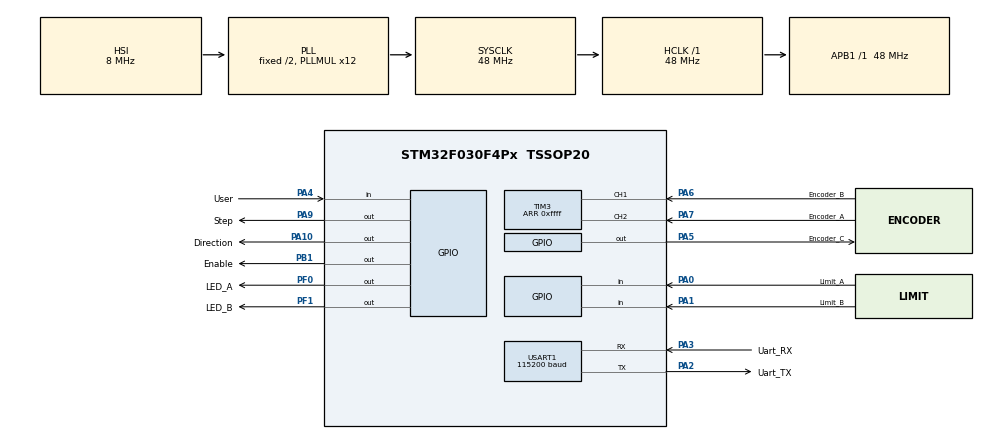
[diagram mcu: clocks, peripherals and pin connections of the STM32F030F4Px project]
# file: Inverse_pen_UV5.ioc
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Mcu.Family=STM32F0
Mcu.Name=STM32F030F4Px
Mcu.Package=TSSOP20
NVIC.TIM14_IRQn=true\:2\:0\:true
NVIC.TIM16_IRQn=true\:1\:0\:true
PA0.GPIO_Label=Limit_A
PA0.GPIO_Mode=GPIO_MODE_INPUT
PA0.GPIO_PuPd=GPIO_PULLDOWN
PA0.Signal=GPIO_Input
PA1.GPIO_Label=Limit_B
PA1.GPIO_Mode=GPIO_MODE_INPUT
PA1.GPIO_PuPd=GPIO_PULLDOWN
PA1.Signal=GPIO_Input
PA10.GPIO_FMA10=__NULL
PA10.GPIO_Label=Direction
PA10.GPIO_ModeDefaultOutputPP=GPIO_MODE_OUTPUT_PP
PA10.GPIO_PuPd=GPIO_NOPULL
PA10.GPIO_Speed=GPIO_SPEED_LOW
PA10.Signal=GPIO_Output
PA13.Mode=Serial-WireDebug
PA13.Signal=SYS_SWDIO
PA14.Mode=Serial-WireDebug
PA14.Signal=SYS_SWCLK
PA2.GPIO_Label=Uart_TX
PA2.GPIO_Mode=GPIO_MODE_AF_PP
PA2.GPIO_PuPd=GPIO_PULLUP
PA2.GPIO_Speed=GPIO_SPEED_HIGH
PA2.Mode=Asynchronous
PA2.Signal=USART1_TX
PA3.GPIO_Label=Uart_RX
PA3.GPIO_Mode=GPIO_MODE_AF_PP
PA3.GPIO_PuPd=GPIO_PULLUP
PA3.GPIO_Speed=GPIO_SPEED_HIGH
PA3.Mode=Asynchronous
PA3.Signal=USART1_RX
PA4.GPIO_Label=User
PA4.Signal=GPIO_Input
PA5.GPIO_Label=Encoder_C
PA5.GPIO_ModeDefaultOutputPP=GPIO_MODE_OUTPUT_PP
PA5.GPIO_PuPd=GPIO_NOPULL
PA5.GPIO_Speed=GPIO_SPEED_LOW
PA5.Signal=GPIO_Output
PA6.GPIO_Label=Encoder_B
PA6.GPIO_ModeDefaultPP=GPIO_MODE_AF_PP
PA6.GPIO_PuPd=GPIO_PULLUP
PA6.GPIO_Speed=GPIO_SPEED_MEDIUM
PA6.Signal=S_TIM3_CH1
PA7.GPIO_Label=Encoder_A
PA7.GPIO_ModeDefaultPP=GPIO_MODE_AF_PP
PA7.GPIO_PuPd=GPIO_PULLUP
PA7.GPIO_Speed=GPIO_SPEED_MEDIUM
PA7.Signal=S_TIM3_CH2
PA9.GPIO_FMA9=__NULL
PA9.GPIO_Label=Step
PA9.GPIO_ModeDefaultOutputPP=GPIO_MODE_OUTPUT_PP
PA9.GPIO_PuPd=GPIO_NOPULL
PA9.GPIO_Speed=GPIO_SPEED_LOW
PA9.Signal=GPIO_Output
PB1.GPIO_Label=Enable
PB1.GPIO_ModeDefaultOutputPP=GPIO_MODE_OUTPUT_PP
PB1.GPIO_PuPd=GPIO_NOPULL
PB1.GPIO_Speed=GPIO_SPEED_LOW
PB1.Signal=GPIO_Output
PF0-OSC_IN.GPIO_Label=LED_A
PF0-OSC_IN.GPIO_ModeDefaultOutputPP=GPIO_MODE_OUTPUT_PP
PF0-OSC_IN.GPIO_PuPd=GPIO_NOPULL
PF0-OSC_IN.GPIO_Speed=GPIO_SPEED_LOW
PF0-OSC_IN.Signal=GPIO_Output
PF1-OSC_OUT.GPIO_Label=LED_B
PF1-OSC_OUT.GPIO_ModeDefaultOutputPP=GPIO_MODE_OUTPUT_PP
PF1-OSC_OUT.GPIO_PuPd=GPIO_NOPULL
PF1-OSC_OUT.GPIO_Speed=GPIO_SPEED_LOW
PF1-OSC_OUT.Signal=GPIO_Output
ProjectManager.TargetToolchain=MDK-ARM V5
RCC.AHBFreq_Value=48000000
RCC.APB1Freq_Value=48000000
RCC.APB1TimFreq_Value=48000000
RCC.HCLKFreq_Value=48000000
RCC.PLLMUL=RCC_PLL_MUL12
RCC.SYSCLKFreq_VALUE=48000000
RCC.SYSCLKSource=RCC_SYSCLKSOURCE_PLLCLK
SH.S_TIM3_CH1.0=TIM3_CH1,Encoder_Interface
SH.S_TIM3_CH2.0=TIM3_CH2,Encoder_Interface
TIM14.Period=4999
TIM14.Prescaler=47
TIM16.Prescaler=23
TIM3.EncoderMode=TIM_ENCODERMODE_TI12
TIM3.Period=0xffff
USART1.BaudRate=115200
VP_TIM14_VS_ClockSourceINT.Mode=Enable_Timer
VP_TIM16_VS_ClockSourceINT.Mode=Enable_Timer
board=Inverse_pen_UV5

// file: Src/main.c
/**
  ******************************************************************************
  * File Name          : main.c
  * Description        : Main program body
  ******************************************************************************
  *
  * COPYRIGHT(c) 2015 STMicroelectronics
  *
  * Redistribution and use in source and binary forms, with or without modification,
  * are permitted provided that the following conditions are met:
  *   1. Redistributions of source code must retain the above copyright notice,
  *      this list of conditions and the following disclaimer.
  *   2. Redistributions in binary form must reproduce the above copyright notice,
  *      this list of conditions and the following disclaimer in the documentation
  *      and/or other materials provided with the distribution.
  *   3. Neither the name of STMicroelectronics nor the names of its contributors
  *      may be used to endorse or promote products derived from this software
  *      without specific prior written permission.
  *
  * THIS SOFTWARE IS PROVIDED BY THE COPYRIGHT HOLDERS AND CONTRIBUTORS "AS IS"
  * AND ANY EXPRESS OR IMPLIED WARRANTIES, INCLUDING, BUT NOT LIMITED TO, THE
  * IMPLIED WARRANTIES OF MERCHANTABILITY AND FITNESS FOR A PARTICULAR PURPOSE ARE
  * DISCLAIMED. IN NO EVENT SHALL THE COPYRIGHT HOLDER OR CONTRIBUTORS BE LIABLE
  * FOR ANY DIRECT, INDIRECT, INCIDENTAL, SPECIAL, EXEMPLARY, OR CONSEQUENTIAL
  * DAMAGES (INCLUDING, BUT NOT LIMITED TO, PROCUREMENT OF SUBSTITUTE GOODS OR
  * SERVICES; LOSS OF USE, DATA, OR PROFITS; OR BUSINESS INTERRUPTION) HOWEVER
  * CAUSED AND ON ANY THEORY OF LIABILITY, WHETHER IN CONTRACT, STRICT LIABILITY,
  * OR TORT (INCLUDING NEGLIGENCE OR OTHERWISE) ARISING IN ANY WAY OUT OF THE USE
  * OF THIS SOFTWARE, EVEN IF ADVISED OF THE POSSIBILITY OF SUCH DAMAGE.
  *
  ******************************************************************************
  */
#include "stm32f0xx_hal.h"

/* USER CODE BEGIN Includes */

#include "math.h"

#define Wn 0.98f 						// natural frequncy

#define M_PI 3.142857142857143f
#define Deg2Rad 0.0174603174603175f

#define sampling 200.0f
#define Revo_Per_Step 0.25f
#define limit_angle 5.0f

#define step_clock  2000000.0f
#define step_Per_mm 50.0f      			// step per mm 6.25, 12.5, 25, 50, 100 (full - 1/16)

#define max_acc  2500.0f     			// mm/s^2
#define max_velo 700.0f   				// mm/s
#define max_displacement 380.0f  		// mm

#define acc_swing_up     1120.0f  		// mm

#define start_cart_position -196.0f * step_Per_mm * 2.0f

#define start_swing_upPoint  0

#define Max_stabili_angle  15.0f
#define inertial_energy_top  94.0f			// limit inertial energy in pendulum

float Kp_outer = 0.01;
float Kd_outer = 0.008; // 0.007
float Ki_outer = 0.0001; //0.01f

//float Kp_iner = 1000.0;
//float Kd_iner = 65.0;

float Kp_iner = 500.0;
float Kd_iner = 65.0;

/* USER CODE END Includes */

TIM_HandleTypeDef htim3;
TIM_HandleTypeDef htim14;
TIM_HandleTypeDef htim16;

UART_HandleTypeDef huart1;

/* USER CODE BEGIN PV */
/* Private variables ---------------------------------------------------------*/

float Debug;

float time = 0;
uint8_t Mode = 0;								// operation mode
uint8_t inte_cart_enable = 0;					// enable or disable intregetion

float positon_ref;

float Angle_pen = 180;

float Angle_pen_dot = 0;
float Angle_pen_shift = 0;
int32_t raw_position_cart = start_cart_position;
float position_cart = 0;
float position_cart_velo = 0;
float position_cart_acc = 0;

float energy = 0;

static float y_data, y_prev_1, y_prev_2;
static float x_prev_1, x_prev_2;

int8_t _limit_state;
/* USER CODE END PV */

void SystemClock_Config(void);
static void MX_GPIO_Init(void);
static void MX_TIM3_Init(void);
static void MX_TIM14_Init(void);
static void MX_TIM16_Init(void);
static void MX_USART1_UART_Init(void);

/* USER CODE BEGIN PFP */
/* Private function prototypes -----------------------------------------------*/
void Initial_encoder(void);
void Update_encoder(void);
float Moving_average(float new_data, float old_data);
float Butterworth_filter(float new_data);

void Sampling_update(void);
void Motor_enable(void);
void Motor_disable(void);
void Motor_lock(void);
void Motor_drive(float tmp_acc, float velo_limit);

void Idle(void);
void Homing(void);
void pre_Swing_up(void);
void Swing_up(void);
void pre_stabilizer(void);
void stabilizer(void);
void pre_swing_up(void);

void _drive_step_pin(void);

void blink_green(void);
void blink_red(void);
void Limit_ws_check(void);
void Limit_ws_unlock(void);
void reset_filter(void);
void Print_Debug(void);

/* USER CODE END PFP */

int main(void)
{

  /* USER CODE BEGIN 1 */

	Mode = 1; 						// homing

//	Mode = 5;
//	inte_cart_enable = 1;
//	raw_position_cart = 0;
//	Angle_pen = 0;

	position_cart = raw_position_cart / (step_Per_mm *2.0f);
  /* USER CODE END 1 */

  /* MCU Configuration----------------------------------------------------------*/

  /* Reset of all peripherals, Initializes the Flash interface and the Systick. */
  HAL_Init();

  /* Configure the system clock */
  SystemClock_Config();

  /* Initialize all configured peripherals */
  MX_GPIO_Init();
  MX_TIM3_Init();
  MX_TIM14_Init();
  MX_TIM16_Init();
  MX_USART1_UART_Init();

  /* USER CODE BEGIN 2 */

	Initial_encoder();
	Motor_disable();
	HAL_Delay(200);

	Motor_enable();
	//Motor_lock();

	HAL_TIM_Base_Start_IT(&htim14);

  /* USER CODE END 2 */

  /* Infinite loop */
  while (1)
  {

  /* USER CODE BEGIN 3 */

		HAL_Delay(0xffff);

  }
  /* USER CODE END 3 */

}

/** System Clock Configuration
*/
void SystemClock_Config(void)
{

  RCC_OscInitTypeDef RCC_OscInitStruct;
  RCC_ClkInitTypeDef RCC_ClkInitStruct;
  RCC_PeriphCLKInitTypeDef PeriphClkInit;

  RCC_OscInitStruct.OscillatorType = RCC_OSCILLATORTYPE_HSI;
  RCC_OscInitStruct.HSIState = RCC_HSI_ON;
  RCC_OscInitStruct.HSICalibrationValue = 16;
  RCC_OscInitStruct.PLL.PLLState = RCC_PLL_ON;
  RCC_OscInitStruct.PLL.PLLSource = RCC_PLLSOURCE_HSI;
  RCC_OscInitStruct.PLL.PLLMUL = RCC_PLL_MUL12;
  RCC_OscInitStruct.PLL.PREDIV = RCC_PREDIV_DIV1;
  HAL_RCC_OscConfig(&RCC_OscInitStruct);

  RCC_ClkInitStruct.ClockType = RCC_CLOCKTYPE_SYSCLK;
  RCC_ClkInitStruct.SYSCLKSource = RCC_SYSCLKSOURCE_PLLCLK;
  RCC_ClkInitStruct.AHBCLKDivider = RCC_SYSCLK_DIV1;
  RCC_ClkInitStruct.APB1CLKDivider = RCC_HCLK_DIV1;
  HAL_RCC_ClockConfig(&RCC_ClkInitStruct, FLASH_LATENCY_1);

  PeriphClkInit.PeriphClockSelection = RCC_PERIPHCLK_USART1;
  PeriphClkInit.Usart1ClockSelection = RCC_USART1CLKSOURCE_PCLK1;
  HAL_RCCEx_PeriphCLKConfig(&PeriphClkInit);

  HAL_SYSTICK_Config(HAL_RCC_GetHCLKFreq()/1000);

  HAL_SYSTICK_CLKSourceConfig(SYSTICK_CLKSOURCE_HCLK);

}

/* TIM3 init function */
void MX_TIM3_Init(void)
{

  TIM_Encoder_InitTypeDef sConfig;
  TIM_MasterConfigTypeDef sMasterConfig;

  htim3.Instance = TIM3;
  htim3.Init.Prescaler = 0;
  htim3.Init.CounterMode = TIM_COUNTERMODE_UP;
  htim3.Init.Period = 0xffff;
  htim3.Init.ClockDivision = TIM_CLOCKDIVISION_DIV1;
  sConfig.EncoderMode = TIM_ENCODERMODE_TI12;
  sConfig.IC1Polarity = TIM_ICPOLARITY_RISING;
  sConfig.IC1Selection = TIM_ICSELECTION_DIRECTTI;
  sConfig.IC1Prescaler = TIM_ICPSC_DIV1;
  sConfig.IC1Filter = 0;
  sConfig.IC2Polarity = TIM_ICPOLARITY_RISING;
  sConfig.IC2Selection = TIM_ICSELECTION_DIRECTTI;
  sConfig.IC2Prescaler = TIM_ICPSC_DIV1;
  sConfig.IC2Filter = 0;
  HAL_TIM_Encoder_Init(&htim3, &sConfig);

  sMasterConfig.MasterOutputTrigger = TIM_TRGO_RESET;
  sMasterConfig.MasterSlaveMode = TIM_MASTERSLAVEMODE_DISABLE;
  HAL_TIMEx_MasterConfigSynchronization(&htim3, &sMasterConfig);

}

/* TIM14 init function */
void MX_TIM14_Init(void)
{

  htim14.Instance = TIM14;
  htim14.Init.Prescaler = 47;
  htim14.Init.CounterMode = TIM_COUNTERMODE_UP;
  htim14.Init.Period = 4999;
  htim14.Init.ClockDivision = TIM_CLOCKDIVISION_DIV1;
  HAL_TIM_Base_Init(&htim14);

}

/* TIM16 init function */
void MX_TIM16_Init(void)
{

  htim16.Instance = TIM16;
  htim16.Init.Prescaler = 23;
  htim16.Init.CounterMode = TIM_COUNTERMODE_UP;
  htim16.Init.Period = 0;
  htim16.Init.ClockDivision = TIM_CLOCKDIVISION_DIV1;
  htim16.Init.RepetitionCounter = 0;
  HAL_TIM_Base_Init(&htim16);

}

/* USART1 init function */
void MX_USART1_UART_Init(void)
{

  huart1.Instance = USART1;
  huart1.Init.BaudRate = 115200;
  huart1.Init.WordLength = UART_WORDLENGTH_8B;
  huart1.Init.StopBits = UART_STOPBITS_1;
  huart1.Init.Parity = UART_PARITY_NONE;
  huart1.Init.Mode = UART_MODE_TX_RX;
  huart1.Init.HwFlowCtl = UART_HWCONTROL_NONE;
  huart1.Init.OverSampling = UART_OVERSAMPLING_16;
  huart1.Init.OneBitSampling = UART_ONEBIT_SAMPLING_DISABLED ;
  huart1.AdvancedInit.AdvFeatureInit = UART_ADVFEATURE_NO_INIT;
  HAL_UART_Init(&huart1);

}

/** Configure pins as
        * Analog
        * Input
        * Output
        * EVENT_OUT
        * EXTI
*/
void MX_GPIO_Init(void)
{

  GPIO_InitTypeDef GPIO_InitStruct;

  /* GPIO Ports Clock Enable */
  __GPIOF_CLK_ENABLE();
  __GPIOA_CLK_ENABLE();
  __GPIOB_CLK_ENABLE();

  /*Configure GPIO pins : PF0 PF1 */
  GPIO_InitStruct.Pin = GPIO_PIN_0|GPIO_PIN_1;
  GPIO_InitStruct.Mode = GPIO_MODE_OUTPUT_PP;
  GPIO_InitStruct.Pull = GPIO_NOPULL;
  GPIO_InitStruct.Speed = GPIO_SPEED_LOW;
  HAL_GPIO_Init(GPIOF, &GPIO_InitStruct);

  /*Configure GPIO pins : PA0 PA1 PA4 */
  GPIO_InitStruct.Pin = GPIO_PIN_0|GPIO_PIN_1|GPIO_PIN_4;
  GPIO_InitStruct.Mode = GPIO_MODE_INPUT;
  GPIO_InitStruct.Pull = GPIO_PULLDOWN;
  HAL_GPIO_Init(GPIOA, &GPIO_InitStruct);

  /*Configure GPIO pins : PA5 PA9 PA10 */
  GPIO_InitStruct.Pin = GPIO_PIN_5|GPIO_PIN_9|GPIO_PIN_10;
  GPIO_InitStruct.Mode = GPIO_MODE_OUTPUT_PP;
  GPIO_InitStruct.Pull = GPIO_NOPULL;
  GPIO_InitStruct.Speed = GPIO_SPEED_LOW;
  HAL_GPIO_Init(GPIOA, &GPIO_InitStruct);

  /*Configure GPIO pin : PB1 */
  GPIO_InitStruct.Pin = GPIO_PIN_1;
  GPIO_InitStruct.Mode = GPIO_MODE_OUTPUT_PP;
  GPIO_InitStruct.Pull = GPIO_NOPULL;
  GPIO_InitStruct.Speed = GPIO_SPEED_LOW;
  HAL_GPIO_Init(GPIOB, &GPIO_InitStruct);

}

/* USER CODE BEGIN 4 */
void Sampling_update (void)
{
	time += 0.005;
	Limit_ws_check();

	Update_encoder();

	if (Mode == 0) Idle();
	if (Mode == 1) Homing();
	if (Mode == 2) pre_Swing_up();
	if (Mode == 3) Swing_up();
	if (Mode == 4) pre_stabilizer();
	if (Mode == 5) stabilizer();
	if (Mode == 6) pre_swing_up();
}

// mode 0
void Idle(void)									// free
{
	static uint16_t count;
	count ++;
	if (count > 200)
	{
		Motor_disable();
		Angle_pen = 0;
		Angle_pen_dot = 0;
		position_cart = 0;
		position_cart_velo = 0;
		position_cart_acc = 0;
	}else{
		Motor_lock();
	}
}

// mode 1
void Homing(void)								// go to zero
{
	static float tmp;

	blink_green();

	if (_limit_state != 1 && position_cart < start_swing_upPoint)
	{
		inte_cart_enable = 0;
		Motor_drive(-100, 100); 			// homing
	}else{
		  inte_cart_enable = 1;
			if (position_cart < start_swing_upPoint)
			{
				Motor_enable();						// enable motor
				Motor_drive(100, 100);
			}else{
				Limit_ws_unlock();				// unlock limit
				Motor_lock();
				tmp = Moving_average(Angle_pen_dot, tmp);
				if (tmp < 0.2f && tmp > -0.2f)
				{
					time = 0;							// reset time
					Mode = 6;
				}
			}
	}
}

// mode 2
void pre_Swing_up(void)							// Feed forward
{
	blink_red();
	float force = -900.0f * cosf ( time * M_PI * 2.0f / Wn ) ;
	Motor_drive(force, max_velo);
//	Debug =  force;

	if (Angle_pen > 220 || Angle_pen < 135) Mode = 3 ;
}

// mode 3
void Swing_up(void)							// energy control
{
	float Angle_pen_dot_Rad = Angle_pen_dot*Deg2Rad;
	float poten = cosf(Angle_pen*Deg2Rad);

	float energy = (87.0f * poten) + (Angle_pen_dot_Rad*Angle_pen_dot_Rad);  // tuning gain for Ep

	blink_red();

	float bangbang = poten * Angle_pen_dot;

	{
		if ((bangbang > 0.005f || bangbang < -0.005f) && energy < inertial_energy_top)   // limit energy in pendulum
		{
				if (bangbang > 0)
				{
					Motor_drive(acc_swing_up, max_velo);
				}else{
					Motor_drive( -acc_swing_up, max_velo);
				}
		}else{
				Motor_drive(0 , max_velo);
		}
	}

	if (Angle_pen > 358.2f)
	{
		Mode = 4;
		Angle_pen_shift = 360.0f ;

	}

	if (Angle_pen < 1.8f)
	{
		Mode = 4;
		Angle_pen_shift = 0.0f ;

	}
}
// mode 4
void pre_stabilizer(void)
{
	positon_ref = position_cart;
	Mode = 5;
	time = 0;
}
// mode 5
void stabilizer(void)						// balencing
{

	blink_green();
	float error_position_tmp;
	static float error_position;
	static float error_position_dot;
	static float error_position_sum;
	static float error;
	float error_tmp;
	static float error_dot;
	static float error_sum;
	float u_control;
	float angle_ref;

	if (positon_ref >  0.1f) positon_ref -= 0.04f;
	if (positon_ref < -0.1f) positon_ref += 0.04f;

	if ((Angle_pen < Max_stabili_angle || Angle_pen > -Max_stabili_angle) && time < 15.0f)
	{
		error_position_tmp = error_position;
		error_position = position_cart - positon_ref;

		error_position_dot = (error_position - error_position_tmp )* sampling ;
		error_position_sum += error_position / sampling;

		angle_ref = (error_position * Kp_outer) + (error_position_dot * Kd_outer) + (error_position_sum * Ki_outer);

		error_tmp = error;

		error = angle_ref-(Angle_pen - Angle_pen_shift);
//		Debug = error;
		error_dot = (error - error_tmp) * sampling;

		error_sum += error_tmp / sampling ;

		u_control = (error * Kp_iner) + (error_dot * Kd_iner) ;
//		Debug = u_control;
		if (u_control > 4500)  u_control =  4500;
		if (u_control < -4500) u_control = -4500;
		Motor_drive( u_control, max_velo);

	}else{
		Mode = 0;
	}
}

void pre_swing_up(void)						// balencing
{
	static uint16_t count;

	blink_green();

	if (Angle_pen_dot == 0)
	{
		count++;
	}else{
		count= 0;
	}

	if (count > 200)
	{
		Mode = 2; 	// goto mode 2 Swing_up
		Angle_pen = 180;
		time = 0;							// reset time
		Motor_enable();						// enable motor
		reset_filter();
		position_cart_velo = 0;
	}
}

void Initial_encoder(void)
{
	TIM_Encoder_InitTypeDef hEncoder;
	hEncoder.EncoderMode = TIM_ENCODERMODE_TI12 ;
	HAL_TIM_Encoder_Init(&htim3,&hEncoder);
	HAL_TIM_Encoder_Start(&htim3,TIM_CHANNEL_ALL);
	TIM3->CNT = 0x3fff ;
}

void Update_encoder(void)
{
	float prev_angle = Angle_pen;
	int16_t tmp;

	tmp = TIM3->CNT - 0x3fff ;
	TIM3->CNT = 0x3fff ;

	Angle_pen += (float)tmp * Revo_Per_Step;
	Angle_pen_dot = Butterworth_filter((Angle_pen - prev_angle) * sampling);
//	Debug = (Angle_pen - prev_angle) * sampling;
}

float Moving_average(float new_data, float old_data)
{
	float tmp =0.9f*old_data + 0.2f*(new_data - old_data);
	return tmp;
}
float Butterworth_filter(float x_data)
{
	// lowpass filter butterworth order 2nd fc 20 hz sampling 200hz

	x_prev_2 = x_prev_1;
	x_prev_1 = x_data ;

	y_prev_2 = y_prev_1;
	y_prev_1 = y_data ;

	float nume = (x_data + 2.0f * x_prev_1 +  x_prev_2);
	float denom = (- 1.1429804563522339f * y_prev_1 +  0.412801593542099f * y_prev_2);
	y_data = 0.067455276846885681f * nume - denom;
	return y_data;
}

void Motor_disable(void)
{
	HAL_GPIO_WritePin(GPIOB, GPIO_PIN_1, GPIO_PIN_SET);
	HAL_TIM_Base_Stop_IT(&htim16);
}
void Motor_enable(void)
{
	HAL_GPIO_WritePin(GPIOB, GPIO_PIN_1, GPIO_PIN_RESET);
	TIM16->CNT = 0;
	HAL_TIM_Base_Start_IT(&htim16);
}
void Motor_lock(void)
{
	HAL_GPIO_WritePin(GPIOB, GPIO_PIN_1, GPIO_PIN_RESET);
	HAL_TIM_Base_Stop_IT(&htim16);
	position_cart_velo = 0;
}

void Motor_drive(float tmp_acc, float velo_limit)
{
	float tmp_velo = 0;
	float tmp_abs_velo = 0;
	float velo_trim  = 0;

		if (Mode == 2 || Mode == 3)
		{
			velo_trim = (- position_cart * 0.5f) - position_cart_velo *0.35f   ;

		}else{
			velo_trim = 0;
		}

	position_cart_velo += (tmp_acc + velo_trim) / sampling; 								// intregrated

	if (position_cart_velo > max_velo)  position_cart_velo = max_velo;		// protection
	if (position_cart_velo < -max_velo) position_cart_velo = -max_velo;   // protection

	if (position_cart_velo > 0)
	{
		tmp_abs_velo = position_cart_velo;
		HAL_GPIO_WritePin(GPIOA, GPIO_PIN_10, GPIO_PIN_RESET);							// +x
	}else{
		tmp_abs_velo = -position_cart_velo;
		HAL_GPIO_WritePin(GPIOA, GPIO_PIN_10, GPIO_PIN_SET);								// -x
	}

	if (tmp_abs_velo > velo_limit)
	{
		tmp_abs_velo = velo_limit;

		if (position_cart_velo > 0)
		{
			position_cart_velo = velo_limit;		// protection
		}else{
			position_cart_velo = -velo_limit;
		}
	}

	position_cart =  raw_position_cart / (step_Per_mm *2.0f);

	tmp_velo = step_clock / (step_Per_mm *2.0f) /  tmp_abs_velo;							// changing to period

	if (tmp_velo > 0xffff)  tmp_velo = 0xffff;														// protection													// protection
	TIM16->CNT = 0;
	TIM16->ARR = tmp_velo;																								// write to register

}

void Limit_ws_check(void)
{
	HAL_GPIO_WritePin(GPIOF, GPIO_PIN_0, GPIO_PIN_RESET);		// turn off led
	HAL_GPIO_WritePin(GPIOF, GPIO_PIN_1, GPIO_PIN_RESET);		// turn off led

	if( _limit_state == 0)
	{
		if ( HAL_GPIO_ReadPin(GPIOA, GPIO_PIN_0) == GPIO_PIN_SET )
		{
			Motor_lock();
			_limit_state = 1;
			raw_position_cart = start_cart_position;
			position_cart     = raw_position_cart / (step_Per_mm *2.0f);	;
			position_cart_velo = 0;
						if (Mode != 1)
			{
				Mode = 0; // shutdown
			}
		}

		if (HAL_GPIO_ReadPin(GPIOA, GPIO_PIN_1) == GPIO_PIN_SET)
		{
			if (Mode != 1)
			{
				Motor_lock();
				_limit_state = 2;
				position_cart_velo = 0;

				Mode = 0; // shutdown
			}
		}
	}

	if ( HAL_GPIO_ReadPin(GPIOA, GPIO_PIN_4) == GPIO_PIN_SET)
	{
		_limit_state = 0;
	}

	if (Mode != 1)
	{
		if (position_cart > 200.0f || position_cart < -200.0f ) Mode = 0; // shutdown
	}

}
void Limit_ws_unlock(void)
{
	_limit_state = 0;
}

void blink_green(void)
{
	static uint8_t count;
	count++;
	if (count > 20)
	{
		HAL_GPIO_WritePin(GPIOF, GPIO_PIN_0, GPIO_PIN_SET);
		count = 0;
	}
}

void blink_red(void)
{
	static uint8_t count;
	count++;
	if (count > 21)
	{
		HAL_GPIO_WritePin(GPIOF, GPIO_PIN_1, GPIO_PIN_SET);
		count = 0;
	}
}
void _drive_step_pin(void)
{
	HAL_GPIO_TogglePin(GPIOA, GPIO_PIN_9);
	if (inte_cart_enable != 0)
	{
		if(position_cart_velo >= 0)
		{
			raw_position_cart++;
		}else{
			raw_position_cart--;
		}
	}
}

void reset_filter(void)
{
	y_data = 0;
	y_prev_1 = 0;
	y_prev_2 = 0;
	x_prev_1 = 0;
	x_prev_2 = 0;
}
void Print_Debug(void)
{
    uint8_t header[2] = {0x7e, 0x7e};
    uint8_t terminator[2] = {0xe7, 0xe7};

    HAL_UART_Transmit(&huart1, header, 2, 1);    // sent header
//    HAL_UART_Transmit(&huart1, (uint8_t *)&force, 4, 1);
//    HAL_UART_Transmit(&huart1, (uint8_t *)&angle, 4, 1);
//    HAL_UART_Transmit(&huart1, (uint8_t *)&position, 4, 1);
    HAL_UART_Transmit(&huart1, terminator, 2, 1);    // sent header
}
/* USER CODE END 4 */

/************************ (C) COPYRIGHT STMicroelectronics *****END OF FILE****/
